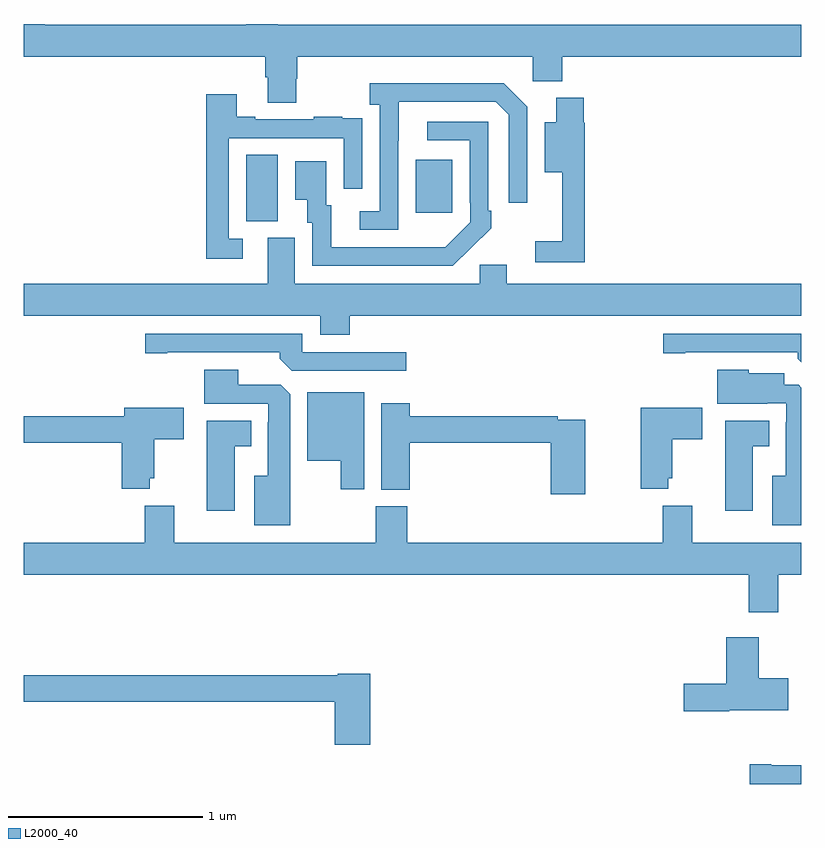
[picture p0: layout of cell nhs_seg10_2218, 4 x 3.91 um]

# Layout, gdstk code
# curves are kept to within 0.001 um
import gdstk
lib = gdstk.Library(unit=1e-6, precision=1e-09)
def R(c, l, rs):  # rectangles x0, y0, x1, y1
    for r in rs: c.add(gdstk.rectangle(r[:2], r[2:], *l))
def P(c, l, *ps):  # polygons
    for p in ps: c.add(gdstk.Polygon(p, *l))
L2000_40 = (2000, 40)

nhs_seg10_2218 = lib.new_cell('nhs_seg10_2218')
R(nhs_seg10_2218, L2000_40, [(230.144,1283.485,230.308,1283.828), (231.017,1283.529,231.205,1283.803)])
P(nhs_seg10_2218, L2000_40, [(230.403,1284.219),(230.408,1284.219),(230.408,1284.332),(231.618,1284.332),(231.618,1284.206),(231.77,1284.206),(231.77,1284.332),(233,1284.332),(233,1284.496),(230.306,1284.496),(230.306,1284.5),(230.146,1284.5),(230.146,1284.496),(229.108,1284.496),(229.108,1284.5),(229,1284.5),(229,1284.332),(230.243,1284.332),(230.243,1284.226),(230.255,1284.226),(230.255,1284.094),(230.403,1284.094)],
  [(230.928,1283.899),(230.929,1284.099),(231.429,1284.099),(231.495,1284.033),(231.495,1283.58),(231.591,1283.58),(231.591,1284.075),(231.47,1284.196),(230.781,1284.196),(230.781,1284.086),(230.832,1284.086),(230.832,1283.538),(230.73,1283.538),(230.73,1283.442),(230.928,1283.442)],
  [(230.128,1283.397),(230.055,1283.397),(230.055,1283.913),(230.646,1283.913),(230.646,1283.652),(230.742,1283.652),(230.742,1283.906),(230.741,1283.906),(230.741,1284.015),(230.639,1284.015),(230.639,1284.022),(230.491,1284.022),(230.491,1284.009),(230.191,1284.009),(230.191,1284.022),(230.095,1284.022),(230.095,1284.139),(229.939,1284.139),(229.939,1283.292),(230.128,1283.292)],
  [(231.887,1283.991),(231.881,1283.991),(231.881,1284.121),(231.74,1284.121),(231.74,1283.995),(231.68,1283.995),(231.68,1283.738),(231.77,1283.738),(231.77,1283.383),(231.63,1283.383),(231.63,1283.274),(231.887,1283.274)],
  [(231.299,1283.347),(231.3,1283.346),(231.405,1283.451),(231.405,1283.539),(231.39,1283.539),(231.39,1283.997),(231.075,1283.997),(231.075,1283.901),(231.294,1283.901),(231.294,1283.581),(231.297,1283.581),(231.297,1283.481),(231.169,1283.353),(230.581,1283.352),(230.581,1283.568),(230.557,1283.568),(230.557,1283.794),(230.396,1283.794),(230.396,1283.597),(230.459,1283.597),(230.459,1283.478),(230.484,1283.478),(230.484,1283.256),(231.208,1283.256)],
  [(230.678,1283),(233,1283),(233,1283.164),(231.484,1283.164),(231.484,1283.262),(231.345,1283.262),(231.345,1283.164),(230.395,1283.164),(230.395,1283.4),(230.255,1283.4),(230.255,1283.164),(229,1283.164),(229,1283),(230.525,1283),(230.525,1282.901),(230.678,1282.901)],
  [(233,1282.908),(232.29,1282.908),(232.29,1282.807),(232.402,1282.807),(232.402,1282.812),(232.982,1282.812),(232.982,1282.778),(233,1282.76)],
  [(230.968,1282.812),(230.433,1282.812),(230.433,1282.908),(229.626,1282.908),(229.626,1282.807),(229.738,1282.807),(229.738,1282.812),(230.318,1282.812),(230.318,1282.778),(230.379,1282.716),(230.968,1282.716)],
  [(233,1282.63),(232.986,1282.644),(232.912,1282.644),(232.912,1282.705),(232.728,1282.705),(232.728,1282.723),(232.568,1282.723),(232.568,1282.547),(232.823,1282.547),(232.823,1282.551),(232.923,1282.551),(232.923,1282.451),(232.919,1282.451),(232.919,1282.177),(232.85,1282.177),(232.85,1281.923),(233,1281.923)],
  [(230.371,1282.595),(230.322,1282.644),(230.104,1282.644),(230.104,1282.723),(229.928,1282.723),(229.928,1282.548),(230.259,1282.548),(230.259,1282.451),(230.255,1282.451),(230.255,1282.177),(230.186,1282.177),(230.186,1281.923),(230.371,1281.923)],
  [(230.752,1282.606),(230.459,1282.606),(230.459,1282.253),(230.63,1282.253),(230.63,1282.107),(230.752,1282.107)],
  [(231.888,1282.464),(231.746,1282.464),(231.746,1282.484),(230.987,1282.484),(230.987,1282.549),(230.84,1282.549),(230.84,1282.105),(230.987,1282.105),(230.987,1282.348),(231.71,1282.348),(231.71,1282.083),(231.888,1282.083)],
  [(229.65,1282.163),(229.672,1282.163),(229.672,1282.366),(229.825,1282.366),(229.825,1282.528),(229.517,1282.528),(229.517,1282.484),(229,1282.484),(229,1282.348),(229.505,1282.348),(229.505,1282.109),(229.65,1282.109)],
  [(232.314,1282.163),(232.336,1282.163),(232.336,1282.366),(232.489,1282.366),(232.489,1282.528),(232.174,1282.528),(232.174,1282.109),(232.314,1282.109)],
  [(230.086,1282.328),(230.17,1282.328),(230.17,1282.459),(229.943,1282.459),(229.943,1281.996),(230.086,1281.996)],
  [(232.75,1282.328),(232.834,1282.328),(232.834,1282.459),(232.607,1282.459),(232.607,1281.996),(232.75,1281.996)],
  [(232.882,1281.668),(233,1281.668),(233,1281.832),(232.438,1281.832),(232.438,1282.024),(232.286,1282.024),(232.286,1281.832),(230.972,1281.832),(230.972,1282.02),(230.812,1282.02),(230.812,1281.832),(229.774,1281.832),(229.774,1282.024),(229.622,1282.024),(229.622,1281.832),(229,1281.832),(229,1281.668),(232.73,1281.668),(232.73,1281.474),(232.882,1281.474)],
  [(232.629,1280.972),(232.933,1280.972),(232.933,1281.135),(232.78,1281.135),(232.78,1281.346),(232.613,1281.346),(232.613,1281.107),(232.395,1281.107),(232.395,1280.965),(232.629,1280.965)],
  [(230.783,1281.16),(230.616,1281.16),(230.616,1281.152),(229,1281.152),(229,1281.016),(230.6,1281.016),(230.6,1280.793),(230.783,1280.793)],
  [(233,1280.688),(232.846,1280.688),(232.846,1280.693),(232.734,1280.693),(232.734,1280.592),(233,1280.592)])

lib.write_gds('nhs_seg10_2218.gds')
